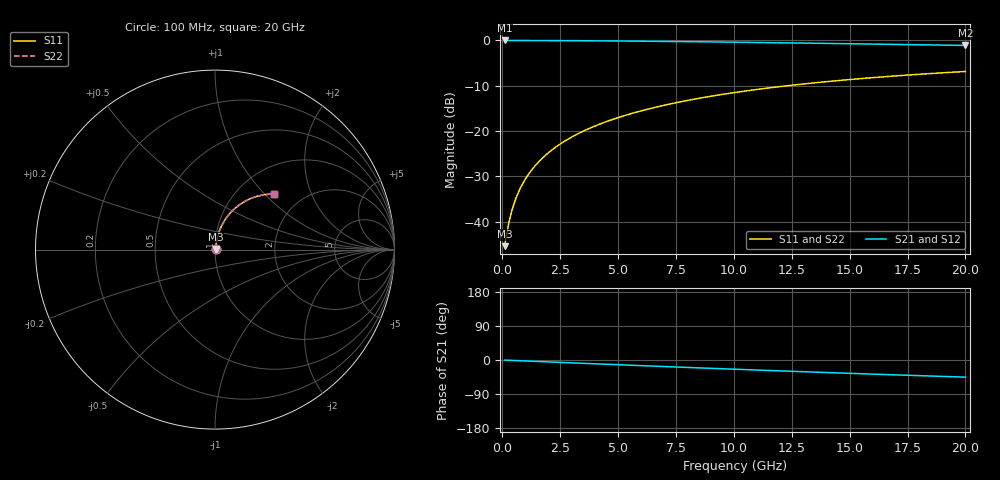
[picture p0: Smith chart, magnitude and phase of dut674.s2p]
! Touchstone file exported from HFSS 2026.1.0
!  File:  C:/ffzhzh/LocalFiles/Ansys_Project_Files/temp_train_TMRDL_674_1783009964_4048.aedt
!  Generated:  12:34:08 AM Jul  3, 2026
!  Design:  TMRDL
!  Project:  temp_train_TMRDL_674_1783009964_4048
! Variables:
!  h_bsmrdl = 2um
!  h_ox = 20um
!  h_rdl = 5um
!  h_sub = 80um
!  h_tmrdl = 3.93um
!  h_tsv = 80um
!  h_via = 3um
!  l_bsmrdl = 300um
!  l_sub = 1050.32um
!  l_tmrdl = 650.32um
!  m_sub = 200um
!  pitch = 40.44um
!  r_tsv = 6um
!  s_tmrdl = 10um
!  w_bsmrdl = 18um
!  w_sub = 500um
!  w_tmrdl = 13.47um
!  x_tsv_center1 = 657.055um
!  x_tsv_center2 = 975.055um
!  x_tsv_center3 = 1638.845um
!  x_tsv_center4 = 1956.845um
!  x_tsv_center5 = 2620.635um
!  x_tsv_center6 = 2938.635um
# GHz S MA R 50.000000
! Terminal data exported
! Port[1] = TM_RDL1_1_T1
! Port[2] = TM_RDL1_1_T2
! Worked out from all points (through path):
!   200 points, 100 MHz to 20 GHz, reference 50 ohm
!   highest |S21| = -0.04 dB at 100 MHz (marker M1); lowest = -1.1 dB at 20 GHz (marker M2)
!   group delay of S21, straight-line fit = 6.29 ps
!   lowest |S11| = -45.4 dB at 100 MHz (marker M3), VSWR 1.01, Z = 50.4 + j0.305 ohm
!   |S11| at or under -10 dB: start of sweep to 12.36 GHz
!   |S22| runs from -45.4 to -6.9 dB; largest |S21 - S12| = 2.2e-15
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0.1  0.005359 34.4  0.9956 -0.3  0.9956 -0.3  0.005359 34.4
! Gamma 0 0 0 0
! Port Impedance 50 0 50 0
0.2  0.007545 52.9  0.9955 -0.5  0.9955 -0.5  0.007545 52.9
0.3  0.01014 62.2  0.9953 -0.8  0.9953 -0.8  0.01014 62.2
0.4  0.01285 67.4  0.9952 -1.0  0.9952 -1.0  0.01285 67.4
0.5  0.01561 70.6  0.995 -1.3  0.995 -1.3  0.01561 70.6
0.6  0.01839 72.8  0.9949 -1.5  0.9949 -1.5  0.01839 72.8
0.8  0.02396 75.6  0.9946 -2.1  0.9946 -2.1  0.02396 75.6
1.1  0.03237 77.8  0.9942 -2.8  0.9942 -2.8  0.03237 77.8
1.3  0.03799 78.5  0.9939 -3.3  0.9939 -3.3  0.03799 78.5
1.6  0.04644 79.1  0.9934 -4.1  0.9934 -4.1  0.04644 79.1
2.1  0.06052 79.2  0.9924 -5.3  0.9924 -5.3  0.06052 79.2
2.7  0.07734 78.6  0.9909 -6.8  0.9909 -6.8  0.07734 78.6
3.5  0.09955 77.4  0.9884 -8.8  0.9884 -8.8  0.09955 77.4
4.2  0.1187 76.0  0.9858 -10.5  0.9858 -10.5  0.1187 76.0
5  0.1403 74.3  0.9824 -12.5  0.9824 -12.5  0.1403 74.3
5.9  0.164 72.4  0.978 -14.7  0.978 -14.7  0.164 72.4
6.8  0.1871 70.4  0.9732 -16.8  0.9732 -16.8  0.1871 70.4
8.3  0.2244 67.0  0.9643 -20.4  0.9643 -20.4  0.2244 67.0
10.1  0.2667 63.1  0.9525 -24.5  0.9525 -24.5  0.2667 63.1
13.4  0.3377 56.0  0.9285 -31.8  0.9285 -31.8  0.3377 56.0
16.7  0.3997 49.3  0.903 -38.7  0.903 -38.7  0.3997 49.3
20  0.4528 43.0  0.8775 -45.3  0.8775 -45.3  0.4528 43.0
